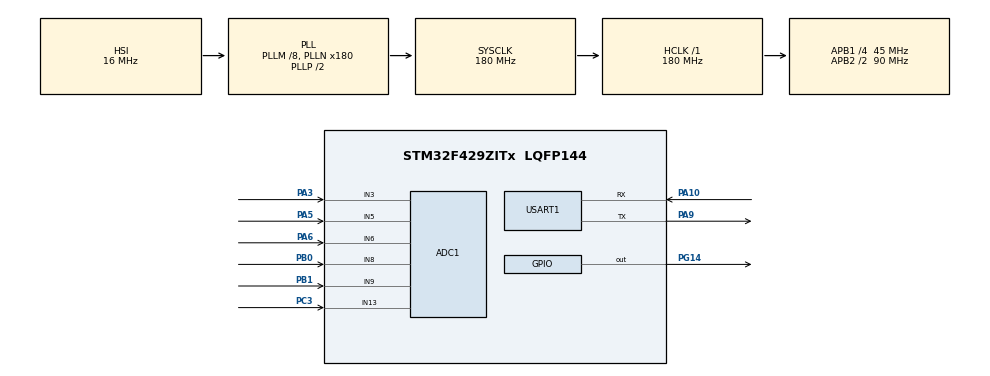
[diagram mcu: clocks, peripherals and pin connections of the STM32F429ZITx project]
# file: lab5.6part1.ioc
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ADC1.Channel-0\#ChannelRegularConversion=ADC_CHANNEL_3
ADC1.Channel-1\#ChannelRegularConversion=ADC_CHANNEL_5
ADC1.Channel-2\#ChannelRegularConversion=ADC_CHANNEL_6
ADC1.Channel-3\#ChannelRegularConversion=ADC_CHANNEL_8
ADC1.Channel-4\#ChannelRegularConversion=ADC_CHANNEL_9
ADC1.Channel-5\#ChannelRegularConversion=ADC_CHANNEL_13
ADC1.ClockPrescaler=ADC_CLOCK_SYNC_PCLK_DIV8
ADC1.NbrOfConversion=6
ADC1.NbrOfConversionFlag=1
ADC1.Rank-0\#ChannelRegularConversion=1
ADC1.Rank-1\#ChannelRegularConversion=2
ADC1.Rank-2\#ChannelRegularConversion=3
ADC1.Rank-3\#ChannelRegularConversion=4
ADC1.Rank-4\#ChannelRegularConversion=5
ADC1.Rank-5\#ChannelRegularConversion=6
ADC1.SamplingTime-0\#ChannelRegularConversion=ADC_SAMPLETIME_15CYCLES
ADC1.SamplingTime-1\#ChannelRegularConversion=ADC_SAMPLETIME_15CYCLES
ADC1.SamplingTime-2\#ChannelRegularConversion=ADC_SAMPLETIME_15CYCLES
ADC1.SamplingTime-3\#ChannelRegularConversion=ADC_SAMPLETIME_15CYCLES
ADC1.SamplingTime-4\#ChannelRegularConversion=ADC_SAMPLETIME_15CYCLES
ADC1.SamplingTime-5\#ChannelRegularConversion=ADC_SAMPLETIME_15CYCLES
ADC1.ScanConvMode=ENABLE
ADC1.master=1
Dma.ADC1.0.Direction=DMA_PERIPH_TO_MEMORY
Dma.ADC1.0.FIFOMode=DMA_FIFOMODE_DISABLE
Dma.ADC1.0.Instance=DMA2_Stream0
Dma.ADC1.0.MemDataAlignment=DMA_MDATAALIGN_WORD
Dma.ADC1.0.MemInc=DMA_MINC_ENABLE
Dma.ADC1.0.Mode=DMA_CIRCULAR
Dma.ADC1.0.PeriphDataAlignment=DMA_PDATAALIGN_WORD
Dma.ADC1.0.PeriphInc=DMA_PINC_DISABLE
Dma.ADC1.0.Priority=DMA_PRIORITY_LOW
Dma.Request0=ADC1
Mcu.Family=STM32F4
Mcu.Name=STM32F429ZITx
Mcu.Package=LQFP144
NVIC.DMA2_Stream0_IRQn=true\:1\:0\:true\:false\:true\:false\:true
NVIC.PriorityGroup=NVIC_PRIORITYGROUP_2
PA10.Mode=Asynchronous
PA10.Signal=USART1_RX
PA3.Signal=ADCx_IN3
PA5.Signal=ADCx_IN5
PA6.Signal=ADCx_IN6
PA9.Mode=Asynchronous
PA9.Signal=USART1_TX
PB0.Signal=ADCx_IN8
PB1.Signal=ADCx_IN9
PC3.Signal=ADCx_IN13
PG14.Signal=GPIO_Output
ProjectManager.HeapSize=0x200
ProjectManager.StackSize=0x400
ProjectManager.TargetToolchain=STM32CubeIDE
RCC.48MHZClocksFreq_Value=90000000
RCC.AHBFreq_Value=180000000
RCC.APB1CLKDivider=RCC_HCLK_DIV4
RCC.APB1Freq_Value=45000000
RCC.APB1TimFreq_Value=90000000
RCC.APB2CLKDivider=RCC_HCLK_DIV2
RCC.APB2Freq_Value=90000000
RCC.APB2TimFreq_Value=180000000
RCC.CortexFreq_Value=180000000
RCC.HCLKFreq_Value=180000000
RCC.HSE_VALUE=25000000
RCC.HSI_VALUE=16000000
RCC.LSE_VALUE=32768
RCC.PLLM=8
RCC.PLLN=180
RCC.SYSCLKFreq_VALUE=180000000
RCC.SYSCLKSource=RCC_SYSCLKSOURCE_PLLCLK
RCC.VCOOutputFreq_Value=360000000
SH.ADCx_IN13.0=ADC1_IN13,IN13
SH.ADCx_IN3.0=ADC1_IN3,IN3
SH.ADCx_IN5.0=ADC1_IN5,IN5
SH.ADCx_IN6.0=ADC1_IN6,IN6
SH.ADCx_IN8.0=ADC1_IN8,IN8
SH.ADCx_IN9.0=ADC1_IN9,IN9
USART1.VirtualMode=VM_ASYNC
board=custom

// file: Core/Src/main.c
/* USER CODE BEGIN Header */
/**
  ******************************************************************************
  * @file           : main.c
  * @brief          : Main program body
  ******************************************************************************
  * @attention
  *
  * <h2><center>&copy; Copyright (c) 2021 STMicroelectronics.
  * All rights reserved.</center></h2>
  *
  * This software component is licensed by ST under BSD 3-Clause license,
  * the "License"; You may not use this file except in compliance with the
  * License. You may obtain a copy of the License at:
  *                        opensource.org/licenses/BSD-3-Clause
  *
  ******************************************************************************
  */
/* USER CODE END Header */
#include "main.h"
#include "adc.h"
#include "dma.h"
#include "usart.h"
#include "gpio.h"

/* USER CODE BEGIN PV */
uint32_t  adc_val[6];
/* USER CODE END PV */

void SystemClock_Config(void);

int main(void)
{

  /* MCU Configuration--------------------------------------------------------*/

  /* Reset of all peripherals, Initializes the Flash interface and the Systick. */
  HAL_Init();

  /* Configure the system clock */
  SystemClock_Config();

  /* Initialize all configured peripherals */
  MX_GPIO_Init();
  MX_DMA_Init();
  MX_ADC1_Init();
  MX_USART1_UART_Init();

  /* Infinite loop */
  while (1)
  {

    /* USER CODE BEGIN 3 */
	  HAL_ADC_Start_DMA(&hadc1, adc_val, 6);
	  HAL_Delay(500);
	  char CH3[50];
	  	float CH3out = 3.3*(adc_val[0]/4096.0f);
	  	sprintf(CH3, "ADC1_CH3  0x%08X Vin = %.2f V \r\n", adc_val[0] , CH3out);
	    HAL_UART_Transmit(&huart1, (uint32_t*) CH3, strlen(CH3), 1000);
	  	char CH5[50];
	  	float CH5out = 3.3*(adc_val[1]/4096.0f);
	  	sprintf(CH5, "ADC1_CH5  0x%08X Vin = %.2f V \r\n", adc_val[1] , CH5out);
	  	HAL_UART_Transmit(&huart1, (uint32_t*) CH5, strlen(CH5), 1000);
	  	char CH6[50];
	  	float CH6out = 3.3*(adc_val[2]/4096.0f);
	  	sprintf(CH6, "ADC1_CH6  0x%08X Vin = %.2f V \r\n", adc_val[2] , CH6out);
	  	HAL_UART_Transmit(&huart1, (uint32_t*) CH6, strlen(CH6), 1000);
	  	char CH8[50];
	  	float CH8out = 3.3*(adc_val[3]/4096.0f);
	  	sprintf(CH8, "ADC1_CH8  0x%08X Vin = %.2f V \r\n", adc_val[3] , CH8out);
	  	HAL_UART_Transmit(&huart1, (uint32_t*) CH8, strlen(CH8), 1000);
	  	char CH9[50];
	  	float CH9out = 3.3*(adc_val[4]/4096.0f);
	  	sprintf(CH9, "ADC1_CH9  0x%08X Vin = %.2f V \r\n", adc_val[4] , CH9out);
	  	HAL_UART_Transmit(&huart1, (uint32_t*) CH9, strlen(CH9), 1000);
	  	char CH13[50];
	  	float CH13out = 3.3*(adc_val[5]/4096.0f);
	  	sprintf(CH13, "ADC1_CH13 0x%08X Vin = %.2f V \r\n", adc_val[5] , CH13out);
	    HAL_UART_Transmit(&huart1, (uint32_t*) CH13, strlen(CH13), 1000);

	  	HAL_UART_Transmit(&huart1, (uint32_t*) "-------------------------\r\n", 29 , 1000);

	  HAL_Delay(1000);
  }
  /* USER CODE END 3 */
}

void SystemClock_Config(void)
{
  RCC_OscInitTypeDef RCC_OscInitStruct = {0};
  RCC_ClkInitTypeDef RCC_ClkInitStruct = {0};

  /** Configure the main internal regulator output voltage
  */
  __HAL_RCC_PWR_CLK_ENABLE();
  __HAL_PWR_VOLTAGESCALING_CONFIG(PWR_REGULATOR_VOLTAGE_SCALE1);
  /** Initializes the RCC Oscillators according to the specified parameters
  * in the RCC_OscInitTypeDef structure.
  */
  RCC_OscInitStruct.OscillatorType = RCC_OSCILLATORTYPE_HSI;
  RCC_OscInitStruct.HSIState = RCC_HSI_ON;
  RCC_OscInitStruct.HSICalibrationValue = RCC_HSICALIBRATION_DEFAULT;
  RCC_OscInitStruct.PLL.PLLState = RCC_PLL_ON;
  RCC_OscInitStruct.PLL.PLLSource = RCC_PLLSOURCE_HSI;
  RCC_OscInitStruct.PLL.PLLM = 8;
  RCC_OscInitStruct.PLL.PLLN = 180;
  RCC_OscInitStruct.PLL.PLLP = RCC_PLLP_DIV2;
  RCC_OscInitStruct.PLL.PLLQ = 4;
  if (HAL_RCC_OscConfig(&RCC_OscInitStruct) != HAL_OK)
  {
    Error_Handler();
  }
  /** Activate the Over-Drive mode
  */
  if (HAL_PWREx_EnableOverDrive() != HAL_OK)
  {
    Error_Handler();
  }
  /** Initializes the CPU, AHB and APB buses clocks
  */
  RCC_ClkInitStruct.ClockType = RCC_CLOCKTYPE_HCLK|RCC_CLOCKTYPE_SYSCLK
                              |RCC_CLOCKTYPE_PCLK1|RCC_CLOCKTYPE_PCLK2;
  RCC_ClkInitStruct.SYSCLKSource = RCC_SYSCLKSOURCE_PLLCLK;
  RCC_ClkInitStruct.AHBCLKDivider = RCC_SYSCLK_DIV1;
  RCC_ClkInitStruct.APB1CLKDivider = RCC_HCLK_DIV4;
  RCC_ClkInitStruct.APB2CLKDivider = RCC_HCLK_DIV2;

  if (HAL_RCC_ClockConfig(&RCC_ClkInitStruct, FLASH_LATENCY_5) != HAL_OK)
  {
    Error_Handler();
  }
}

/* USER CODE BEGIN 4 */
void HAL_ADC_ConvHalfCpltCallback(ADC_HandleTypeDef *hadc){
	HAL_GPIO_WritePin(GPIOG, GPIO_PIN_14, GPIO_PIN_SET);
	HAL_Delay(100);
}
void HAL_ADC_ConvCpltCallback(ADC_HandleTypeDef *hadc){
	HAL_GPIO_WritePin(GPIOG, GPIO_PIN_14, GPIO_PIN_RESET);
//	HAL_Delay(100);
}

/* USER CODE END 4 */

void Error_Handler(void)
{
  __disable_irq();
  while (1)
  {
  }
}

/************************ (C) COPYRIGHT STMicroelectronics *****END OF FILE****/
